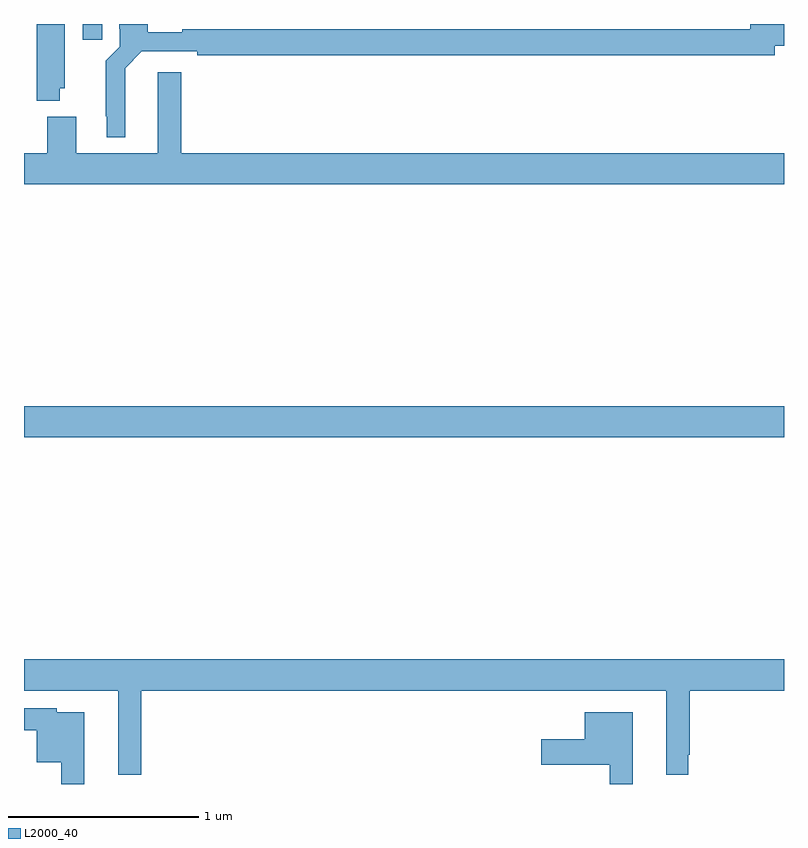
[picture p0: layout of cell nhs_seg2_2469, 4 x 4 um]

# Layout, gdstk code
import gdstk
lib = gdstk.Library(unit=1e-6, precision=1e-09)
def R(c, l, rs):  # rectangles x0, y0, x1, y1
    for r in rs: c.add(gdstk.rectangle(r[:2], r[2:], *l))
def P(c, l, *ps):  # polygons
    for p in ps: c.add(gdstk.Polygon(p, *l))
L2000_40 = (2000, 40)

nhs_seg2_2469 = lib.new_cell('nhs_seg2_2469')
R(nhs_seg2_2469, L2000_40, [(239,659.624,243,659.788), (239.309,661.716,239.413,661.8)])
P(nhs_seg2_2469, L2000_40, [(239.533,661.568),(239.62,661.656),(239.911,661.656),(239.911,661.636),(242.95,661.636),(242.95,661.685),(243,661.685),(243,661.8),(242.822,661.8),(242.822,661.772),(239.834,661.772),(239.834,661.757),(239.651,661.757),(239.651,661.8),(239.501,661.8),(239.501,661.774),(239.505,661.774),(239.505,661.68),(239.431,661.606),(239.431,661.315),(239.435,661.315),(239.435,661.205),(239.533,661.205)],
  [(239.188,661.461),(239.215,661.461),(239.215,661.8),(239.066,661.8),(239.066,661.397),(239.188,661.397)],
  [(243,661.12),(239.828,661.12),(239.828,661.546),(239.705,661.546),(239.705,661.12),(239.275,661.12),(239.275,661.312),(239.123,661.312),(239.123,661.12),(239,661.12),(239,660.956),(243,660.956)],
  [(239.617,658.292),(242.381,658.292),(242.381,657.848),(242.496,657.848),(242.496,657.955),(242.503,657.955),(242.503,658.292),(243,658.292),(243,658.456),(239,658.456),(239,658.292),(239.495,658.292),(239.495,657.848),(239.617,657.848)],
  [(239.317,658.177),(239.172,658.177),(239.172,658.2),(239,658.2),(239,658.084),(239.066,658.084),(239.066,657.914),(239.196,657.914),(239.196,657.8),(239.317,657.8)],
  [(242.203,658.177),(241.952,658.177),(241.952,658.036),(241.722,658.036),(241.722,657.902),(242.082,657.902),(242.082,657.8),(242.203,657.8)])

lib.write_gds('nhs_seg2_2469.gds')
